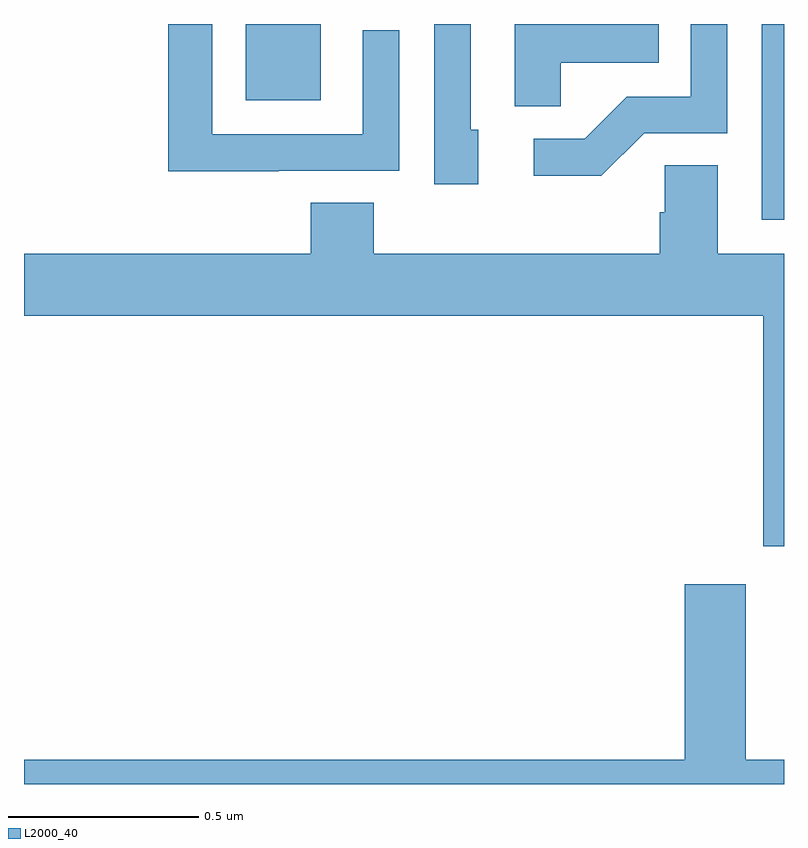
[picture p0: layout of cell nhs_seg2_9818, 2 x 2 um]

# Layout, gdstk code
import gdstk
lib = gdstk.Library(unit=1e-6, precision=1e-09)
def R(c, l, rs):  # rectangles x0, y0, x1, y1
    for r in rs: c.add(gdstk.rectangle(r[:2], r[2:], *l))
def P(c, l, *ps):  # polygons
    for p in ps: c.add(gdstk.Polygon(p, *l))
L2000_40 = (2000, 40)

nhs_seg2_9818 = lib.new_cell('nhs_seg2_9818')
R(nhs_seg2_9818, L2000_40, [(235.941,585.285,236,585.8), (234.584,585.599,234.781,585.8)])
P(nhs_seg2_9818, L2000_40, [(235.632,585.513),(235.851,585.513),(235.851,585.8),(235.755,585.8),(235.755,585.609),(235.586,585.609),(235.475,585.498),(235.341,585.498),(235.341,585.401),(235.519,585.401)],
  [(234.671,585.414),(234.987,585.414),(234.987,585.784),(234.891,585.784),(234.891,585.51),(234.495,585.51),(234.495,585.8),(234.379,585.8),(234.379,585.413),(234.671,585.413)],
  [(235.413,585.698),(235.67,585.698),(235.67,585.8),(235.292,585.8),(235.292,585.583),(235.413,585.583)],
  [(235.195,585.522),(235.176,585.522),(235.176,585.8),(235.08,585.8),(235.08,585.378),(235.195,585.378)],
  [(235.825,585.428),(235.686,585.428),(235.686,585.305),(235.673,585.305),(235.673,585.196),(234.92,585.196),(234.92,585.329),(234.755,585.329),(234.755,585.196),(234,585.196),(234,585.032),(235.946,585.032),(235.946,584.426),(236,584.426),(236,585.196),(235.825,585.196)],
  [(236,583.864),(235.899,583.864),(235.899,584.326),(235.739,584.326),(235.739,583.864),(234,583.864),(234,583.8),(236,583.8)])

lib.write_gds('nhs_seg2_9818.gds')
